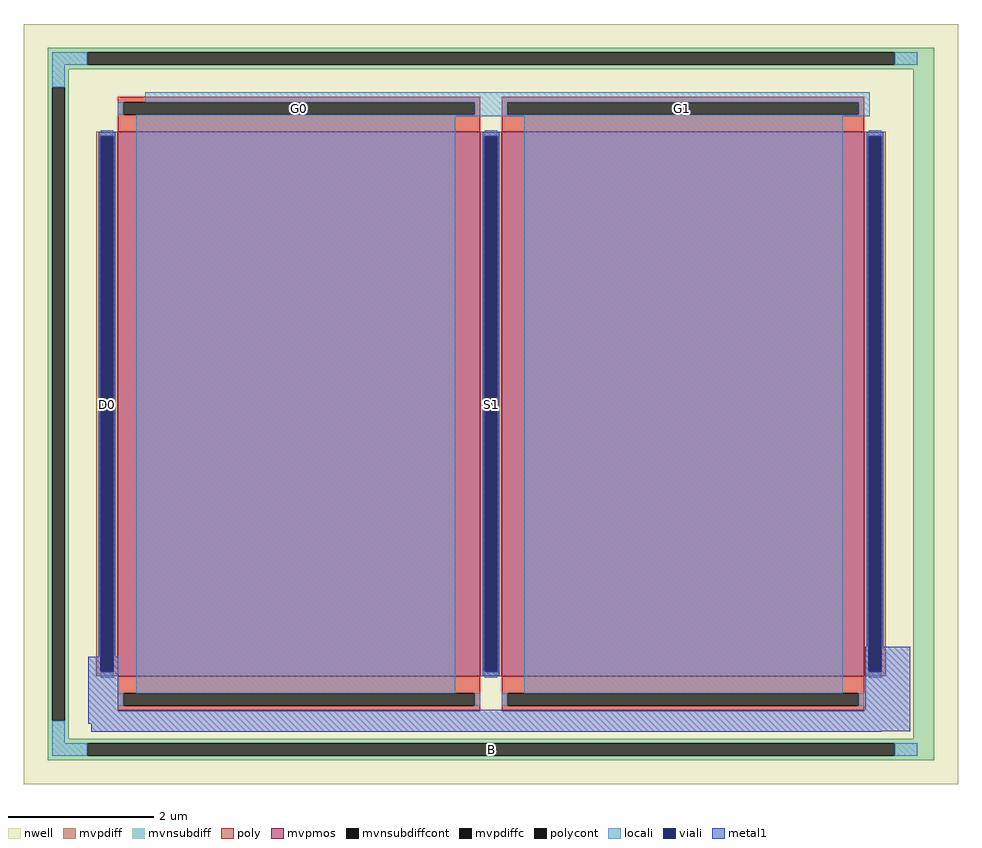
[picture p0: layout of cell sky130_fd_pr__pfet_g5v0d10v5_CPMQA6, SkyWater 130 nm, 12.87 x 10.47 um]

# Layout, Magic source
magic
tech sky130A
magscale 1 2
<< nwell >>
rect -1287 -1047 1287 1047
<< mvpmos >>
rect -1029 -750 -29 750
rect 29 -750 1029 750
<< mvpdiff >>
rect -1087 738 -1029 750
rect -1087 -738 -1075 738
rect -1041 -738 -1029 738
rect -1087 -750 -1029 -738
rect -29 738 29 750
rect -29 -738 -17 738
rect 17 -738 29 738
rect -29 -750 29 -738
rect 1029 738 1087 750
rect 1029 -738 1041 738
rect 1075 -738 1087 738
rect 1029 -750 1087 -738
<< mvpdiffc >>
rect -1075 -738 -1041 738
rect -17 -738 17 738
rect 1041 -738 1075 738
<< mvnsubdiff >>
rect -1221 969 1221 981
rect -1221 935 -1113 969
rect 1113 935 1221 969
rect -1221 923 1221 935
rect -1221 873 -1163 923
rect -1221 -873 -1209 873
rect -1175 -873 -1163 873
rect -1221 -923 -1163 -873
rect 1163 -923 1221 923
rect -1221 -935 1221 -923
rect -1221 -969 -1113 -935
rect 1113 -969 1221 -935
rect -1221 -981 1221 -969
<< mvnsubdiffcont >>
rect -1113 935 1113 969
rect -1209 -873 -1175 873
rect -1113 -969 1113 -935
<< poly >>
rect -1029 831 -29 847
rect -1029 797 -1013 831
rect -45 797 -29 831
rect -1029 750 -29 797
rect 29 831 1029 847
rect 29 797 45 831
rect 1013 797 1029 831
rect 29 750 1029 797
rect -1029 -797 -29 -750
rect -1029 -831 -1013 -797
rect -45 -831 -29 -797
rect -1029 -847 -29 -831
rect 29 -797 1029 -750
rect 29 -831 45 -797
rect 1013 -831 1029 -797
rect 29 -847 1029 -831
<< polycont >>
rect -1013 797 -45 831
rect 45 797 1013 831
rect -1013 -831 -45 -797
rect 45 -831 1013 -797
<< locali >>
rect -1209 935 -1113 969
rect 1113 935 1175 969
rect -1209 873 -1175 935
rect -953 831 1043 859
rect -1029 797 -1013 831
rect -45 797 45 831
rect 1013 797 1043 831
rect -977 793 1043 797
rect -1075 738 -1041 754
rect -1075 -754 -1041 -738
rect -977 -797 -99 793
rect -17 738 17 754
rect -17 -754 17 -738
rect 91 -797 969 793
rect 1041 738 1075 754
rect 1041 -754 1075 -738
rect -1029 -831 -1013 -797
rect -45 -831 -29 -797
rect 29 -831 45 -797
rect 1013 -831 1029 -797
rect -1209 -935 -1175 -873
rect -1209 -969 -1113 -935
rect 1113 -969 1175 -935
<< viali >>
rect -1075 -738 -1041 738
rect -17 -738 17 738
rect 1041 -738 1075 738
<< metal1 >>
rect -1081 738 -1035 750
rect -1081 -697 -1075 738
rect -1109 -738 -1075 -697
rect -1041 -697 -1035 738
rect -23 738 23 750
rect -1041 -738 -1027 -697
rect -1109 -843 -1027 -738
rect -23 -738 -17 738
rect 17 -738 23 738
rect 1035 738 1081 750
rect 1035 -669 1041 738
rect -23 -750 23 -738
rect 1031 -738 1041 -669
rect 1075 -669 1081 738
rect 1075 -738 1155 -669
rect 1031 -843 1155 -738
rect -1109 -881 1155 -843
rect -1101 -901 1155 -881
rect -1101 -903 1075 -901
<< labels >>
rlabel polycont 529 814 529 814 0 G1
port 5 nsew
rlabel mvpdiffc 0 0 0 0 0 S1
port 4 nsew
rlabel polycont -529 814 -529 814 0 G0
port 3 nsew
rlabel mvpdiffc -1058 0 -1058 0 0 D0
port 2 nsew
rlabel mvnsubdiffcont 0 -952 0 -952 0 B
port 1 nsew
<< properties >>
string FIXED_BBOX -1192 -952 1192 952
string gencell sky130_fd_pr__pfet_g5v0d10v5
string library sky130
string parameters w 7.5 l 5 m 1 nf 2 diffcov 100 polycov 100 guard 1 glc 1 grc 1 gtc 1 gbc 1 tbcov 100 rlcov 100 topc 1 botc 1 poverlap 0 doverlap 1 lmin 0.50 wmin 0.42 class mosfet compatible {sky130_fd_pr__pfet_01v8  sky130_fd_pr__pfet_01v8_lvt sky130_fd_pr__pfet_01v8_hvt  sky130_fd_pr__pfet_g5v0d10v5} full_metal 1 conn_gates 0 viasrc 100 viadrn 100 viagate 100 viagb 0 viagr 0 viagl 0 viagt 0 doports 1
<< end >>
